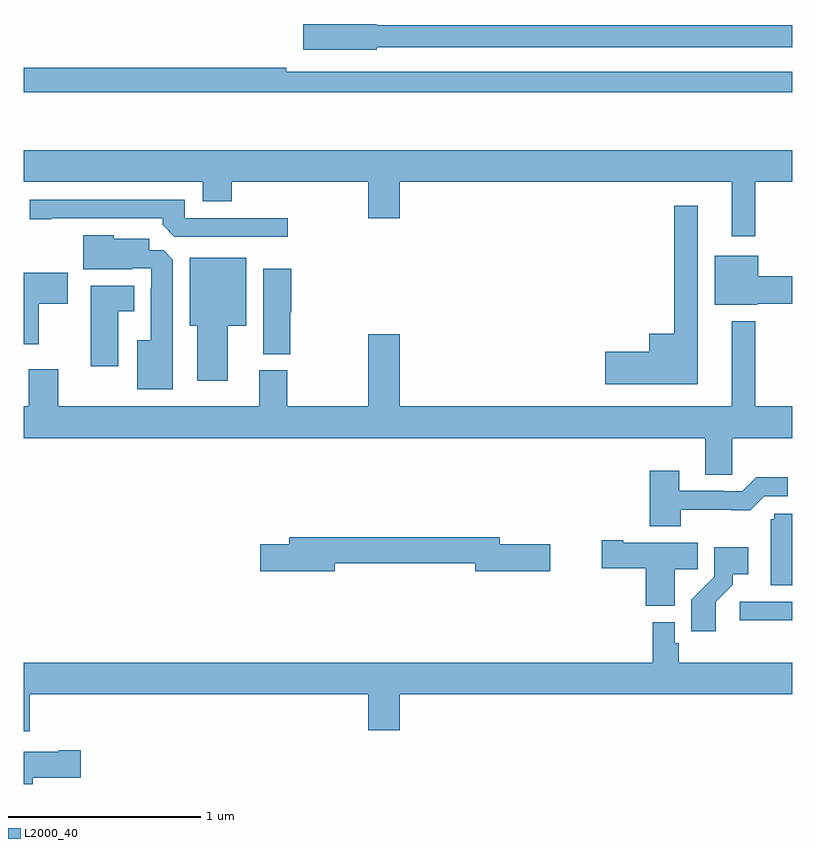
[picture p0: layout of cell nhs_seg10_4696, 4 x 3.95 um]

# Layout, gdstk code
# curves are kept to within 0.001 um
import gdstk
lib = gdstk.Library(unit=1e-6, precision=1e-09)
def P(c, l, *ps):  # polygons
    for p in ps: c.add(gdstk.Polygon(p, *l))
L2000_40 = (2000, 40)

nhs_seg10_4696 = lib.new_cell('nhs_seg10_4696')
P(nhs_seg10_4696, L2000_40, [(380.838,1318.332),(383,1318.332),(383,1318.448),(380.838,1318.448),(380.838,1318.454),(380.454,1318.454),(380.454,1318.319),(380.838,1318.319)],
  [(383,1318.206),(380.366,1318.206),(380.366,1318.226),(379,1318.226),(379,1318.098),(383,1318.098)],
  [(382.807,1317.632),(383,1317.632),(383,1317.796),(379,1317.796),(379,1317.632),(379.931,1317.632),(379.931,1317.533),(380.084,1317.533),(380.084,1317.632),(380.792,1317.632),(380.792,1317.444),(380.956,1317.444),(380.956,1317.632),(382.685,1317.632),(382.685,1317.351),(382.807,1317.351)],
  [(380.374,1317.444),(379.839,1317.444),(379.839,1317.54),(379.032,1317.54),(379.032,1317.439),(379.144,1317.439),(379.144,1317.444),(379.724,1317.444),(379.724,1317.41),(379.785,1317.348),(380.374,1317.348)],
  [(382.507,1317.508),(382.386,1317.508),(382.386,1316.842),(382.256,1316.842),(382.256,1316.75),(382.026,1316.75),(382.026,1316.579),(382.507,1316.579)],
  [(379.777,1317.227),(379.728,1317.276),(379.654,1317.276),(379.654,1317.337),(379.47,1317.337),(379.47,1317.355),(379.31,1317.355),(379.31,1317.179),(379.565,1317.179),(379.565,1317.183),(379.665,1317.183),(379.665,1317.083),(379.661,1317.083),(379.661,1316.809),(379.592,1316.809),(379.592,1316.555),(379.777,1316.555)],
  [(382.818,1316.999),(383,1316.999),(383,1317.141),(382.822,1317.141),(382.822,1317.247),(382.595,1317.247),(382.595,1316.993),(382.818,1316.993)],
  [(380.062,1316.885),(380.158,1316.885),(380.158,1317.238),(379.865,1317.238),(379.865,1316.885),(379.904,1316.885),(379.904,1316.598),(380.062,1316.598)],
  [(380.388,1316.955),(380.393,1316.955),(380.393,1317.181),(380.246,1317.181),(380.246,1316.737),(380.388,1316.737)],
  [(379.078,1316.998),(379.231,1316.998),(379.231,1317.16),(379,1317.16),(379,1316.787),(379.078,1316.787)],
  [(379.492,1316.96),(379.576,1316.96),(379.576,1317.091),(379.349,1317.091),(379.349,1316.673),(379.492,1316.673)],
  [(382.686,1316.3),(383,1316.3),(383,1316.464),(382.807,1316.464),(382.807,1316.908),(382.685,1316.908),(382.685,1316.464),(380.956,1316.464),(380.956,1316.839),(380.792,1316.839),(380.792,1316.464),(380.373,1316.464),(380.373,1316.652),(380.225,1316.652),(380.225,1316.464),(379.18,1316.464),(379.18,1316.659),(379.028,1316.659),(379.028,1316.464),(379,1316.464),(379,1316.3),(382.547,1316.3),(382.547,1316.11),(382.686,1316.11)],
  [(382.419,1315.926),(382.781,1315.925),(382.854,1315.998),(382.975,1315.998),(382.975,1316.095),(382.813,1316.095),(382.74,1316.022),(382.64,1316.022),(382.64,1316.025),(382.411,1316.025),(382.411,1316.131),(382.259,1316.131),(382.259,1315.841),(382.419,1315.841)],
  [(383,1315.905),(382.905,1315.905),(382.905,1315.878),(382.886,1315.878),(382.886,1315.534),(383,1315.534)],
  [(380.62,1315.648),(381.35,1315.648),(381.35,1315.606),(381.739,1315.606),(381.739,1315.748),(381.478,1315.748),(381.478,1315.784),(380.381,1315.784),(380.381,1315.748),(380.232,1315.748),(380.232,1315.606),(380.62,1315.606)],
  [(382.387,1315.618),(382.508,1315.618),(382.508,1315.756),(382.12,1315.756),(382.12,1315.769),(382.008,1315.769),(382.008,1315.622),(382.238,1315.622),(382.238,1315.427),(382.387,1315.427)],
  [(382.6,1315.447),(382.69,1315.537),(382.69,1315.592),(382.771,1315.592),(382.771,1315.732),(382.593,1315.732),(382.593,1315.577),(382.474,1315.458),(382.474,1315.296),(382.6,1315.296)],
  [(382.949,1315.353),(383,1315.353),(383,1315.449),(382.725,1315.449),(382.725,1315.351),(382.949,1315.351)],
  [(379.031,1314.968),(380.792,1314.968),(380.792,1314.78),(380.956,1314.78),(380.956,1314.968),(383,1314.968),(383,1315.132),(382.409,1315.132),(382.409,1315.233),(382.389,1315.233),(382.389,1315.342),(382.273,1315.342),(382.273,1315.132),(379,1315.132),(379,1314.774),(379.031,1314.774)],
  [(379.048,1314.533),(379.297,1314.533),(379.297,1314.675),(379.184,1314.675),(379.184,1314.667),(379,1314.667),(379,1314.5),(379.048,1314.5)])

lib.write_gds('nhs_seg10_4696.gds')
